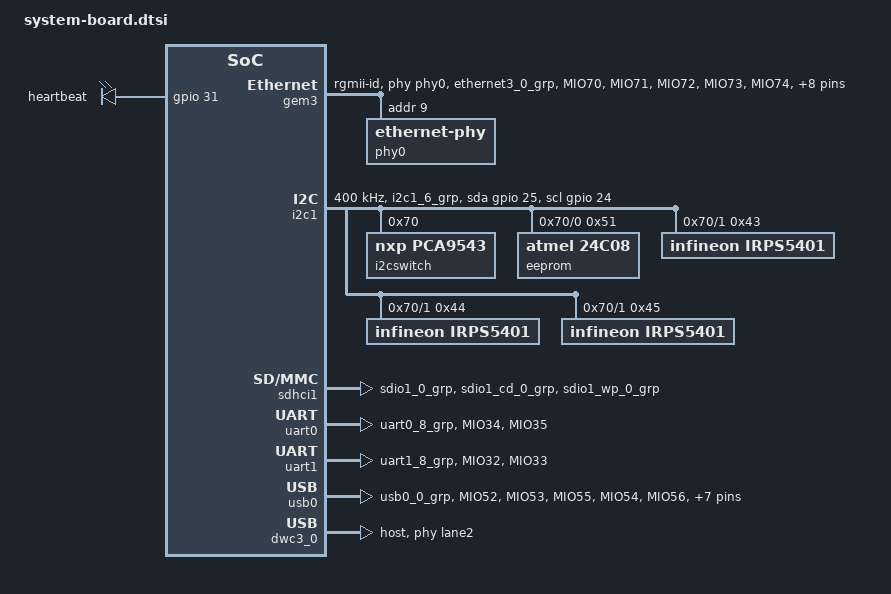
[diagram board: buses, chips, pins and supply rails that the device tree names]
/*
 * DTS file for Avnet IOCC Carrier Board
 *
 * (C) Copyright 2017, Andreas Galauner
 * Andreas Galauner <andreas@galauner.de>
 *
 * (C) Copyright 2020, Foundries io.
 * Michael Scott <mike@foundries.io>
 *
 * SPDX-License-Identifier: GPL-2.0+
 */

/*
 * slew-rate = 1   == <SLEW_RATE_SLOW>
 * io-standard = 1 == <IO_STANDARD_LVCMOS18>
 * gpio flag 0 == GPIO_ACTIVE_HIGH
 */

/ {
	aliases {
                i2c1 = &i2c1;
		ethernet0 = &gem3;
	};

	leds {
		compatible = "gpio-leds";
		heartbeat_led {
			label = "heartbeat";
			gpios = <&gpio 31 0>;
			linux,default-trigger = "heartbeat";
		};
	};
};

/* Ethernet0 with hard-coded MAC */
&gem3 {
	status = "okay";
	phy-handle = <&phy0>;
	phy-mode = "rgmii-id";
	local-mac-address = [00 0a 35 00 02 90];
	pinctrl-names = "default";
	pinctrl-0 = <&pinctrl_gem3_default>;
	phy0: ethernet-phy@9 {
		reg = <0x9>;
		ti,rx-internal-delay = <0x5>;
		ti,tx-internal-delay = <0x5>;
		ti,fifo-depth = <0x1>;
	};
};

/* I2C1: GPIO Expander */
&i2c1 {
        status = "okay";
        clock-frequency = <400000>;
        pinctrl-names = "default", "gpio";
        pinctrl-0 = <&pinctrl_i2c1_default>;
        pinctrl-1 = <&pinctrl_i2c1_gpio>;
        scl-gpios = <&gpio 24 0>;
        sda-gpios = <&gpio 25 0>;

	i2cswitch@70 {
		compatible = "nxp,pca9543";
		#address-cells = <1>;
		#size-cells = <0>;
		reg = <0x70>;

		i2c@0 { /* i2c mw 70 0 1 */
			#address-cells = <1>;
			#size-cells = <0>;
			reg = <0>;
			/* IIC_EEPROM */
			eeprom@51 { /* U5 on UZ3EG IOCC and U7 on the UZ7EV EVCC*/
				compatible = "atmel,24c08";
				reg = <0x51>;
				#address-cells = <0x01>;
				#size-cells = <0x01>;

				board-sn@0 {
					reg = <0x00 0x14>;
				};

				eth-mac@20 {
					reg = <0x20 0x06>;
				};

				board-name@d0 {
					reg = <0xd0 0x06>;
				};

				board-revision@e0 {
					reg = <0xe0 0x03>;
				};
			};
		};

		i2c@1 {
			#address-cells = <0x1>;
			#size-cells = <0x0>;
			reg = <0x1>;

			irps5401@43 {
				compatible = "infineon,irps5401";
				reg = <0x43>;
			};

			irps5401@44 {
				compatible = "infineon,irps5401";
				reg = <0x44>;
			};

			irps5401@45 {
				compatible = "infineon,irps5401";
				reg = <0x45>;
			};
		};
	};
};

/* SD1 with level shifter */
&sdhci1 {
	status = "okay";
	pinctrl-names = "default";
	pinctrl-0 = <&pinctrl_sdhci1_default>;
	/*
	 * 1.0 revision has level shifter and this property should be
	 * removed for supporting UHS mode
	 */
	no-1-8-v;
	/* max-frequency = <50000000>; */
	disable-wp;
};

&uart0 {
	status = "okay";
	pinctrl-names = "default";
	pinctrl-0 = <&pinctrl_uart0_default>;
};

&uart1 {
        status = "okay";
	pinctrl-names = "default";
	pinctrl-0 = <&pinctrl_uart1_default>;
};

/* ULPI SMSC USB3320 */
&usb0 {
	status = "okay";
	pinctrl-names = "default";
	pinctrl-0 = <&pinctrl_usb0_default>;
};

&dwc3_0 {
	status = "okay";
	dr_mode = "host";
	snps,usb3_lpm_capable;
	phy-names = "usb3-phy";
	/* 4==PHY_TYPE_USB3 */
	phys = <&lane2 4 0 2 26000000>;
	maximum-speed = "super-speed";
};

&amba {
	axi_intc_0: axi-interrupt-ctrl {
		#interrupt-cells = <2>;
		compatible = "xlnx,xps-intc-1.00.a";
		interrupt-controller;
		reg = <0x0 0x80030000 0x0 0x1000>;
		xlnx,kind-of-intr = <0x0>;
		xlnx,num-intr-inputs = <0x20>;
		interrupt-parent = <&gic>;
		// connected at pl_ps_irq0[5] (89+5=94)
		interrupts = <0 94 4>;
	};

	zyxclmm_drm {
		compatible = "xlnx,zocl";
		status = "okay";
		interrupt-parent = <&axi_intc_0>;
		interrupts = <0  4>, <1  4>, <2  4>, <3  4>,
			     <4  4>, <5  4>, <6  4>, <7  4>,
			     <8  4>, <9  4>, <10 4>, <11 4>,
			     <12 4>, <13 4>, <14 4>, <15 4>,
			     <16 4>, <17 4>, <18 4>, <19 4>,
			     <20 4>, <21 4>, <22 4>, <23 4>,
			     <24 4>, <25 4>, <26 4>, <27 4>,
			     <28 4>, <29 4>, <30 4>, <31 4>;
	};
};

&pinctrl0 {
	status = "okay";

	pinctrl_gem3_default: gem3-default {
		mux {
			function = "ethernet3";
			groups = "ethernet3_0_grp";
		};

		conf {
			groups = "ethernet3_0_grp";
			slew-rate = <1>;
			io-standard = <1>;
		};

		conf-rx {
			pins = "MIO70", "MIO71", "MIO72", "MIO73", "MIO74", "MIO75";
			bias-high-impedance;
			low-power-disable;
		};

		conf-tx {
			pins = "MIO64", "MIO65", "MIO66", "MIO67", "MIO68", "MIO69";
			bias-disable;
			low-power-enable;
		};

		mux-mdio {
			function = "mdio3";
			groups = "mdio3_0_grp";
		};

		conf-mdio {
			groups = "mdio3_0_grp";
			slew-rate = <1>;
			io-standard = <1>;
			bias-disable;
		};
	};

	pinctrl_i2c1_default: i2c1-default {
		mux {
			groups = "i2c1_6_grp";
			function = "i2c1";
		};

		conf {
			groups = "i2c1_6_grp";
			bias-pull-up;
			slew-rate = <1>;
			io-standard = <1>;
                };
        };

	pinctrl_i2c1_gpio: i2c1-gpio {
		mux {
			groups = "gpio0_24_grp", "gpio0_25_grp";
			function = "gpio0";
		};

		conf {
			groups = "gpio0_24_grp", "gpio0_25_grp";
			slew-rate = <1>;
			io-standard = <1>;
		};
	};

	pinctrl_sdhci1_default: sdhci1-default {
		mux {
			groups = "sdio1_0_grp";
			function = "sdio1";
		};

		conf {
			groups = "sdio1_0_grp";
			slew-rate = <1>;
			io-standard = <1>;
			bias-disable;
		};

		mux-cd {
			groups = "sdio1_cd_0_grp";
			function = "sdio1_cd";
		};

		conf-cd {
			groups = "sdio1_cd_0_grp";
			bias-high-impedance;
			bias-pull-up;
			slew-rate = <1>;
			io-standard = <1>;
		};

		mux-wp {
			groups = "sdio1_wp_0_grp";
			function = "sdio1_wp";
		};

		conf-wp {
			groups = "sdio1_wp_0_grp";
			bias-high-impedance;
			bias-pull-up;
			slew-rate = <1>;
			io-standard = <1>;
		};
	};

	pinctrl_uart0_default: uart0-default {
		mux {
			groups = "uart0_8_grp";
			function = "uart0";
		};

		conf {
			groups = "uart0_8_grp";
			slew-rate = <1>;
			io-standard = <1>;
		};

		conf-rx {
			pins = "MIO34";
			bias-high-impedance;
		};

		conf-tx {
			pins = "MIO35";
			bias-disable;
		};
	};

	pinctrl_uart1_default: uart1-default {
		mux {
			groups = "uart1_8_grp";
			function = "uart1";
		};

		conf {
			groups = "uart1_8_grp";
			slew-rate = <1>;
			io-standard = <1>;
		};

		conf-rx {
			pins = "MIO32";
			bias-high-impedance;
		};

		conf-tx {
			pins = "MIO33";
			bias-disable;
		};
	};

	pinctrl_usb0_default: usb0-default {
		mux {
			groups = "usb0_0_grp";
			function = "usb0";
		};

		conf {
			groups = "usb0_0_grp";
			slew-rate = <1>;
			io-standard = <1>;
		};

		conf-rx {
			pins = "MIO52", "MIO53", "MIO55";
			bias-high-impedance;
	        };

		conf-tx {
			pins = "MIO54", "MIO56", "MIO57", "MIO58", "MIO59",
			       "MIO60", "MIO61", "MIO62", "MIO63";
			bias-disable;
		};
	};
};
